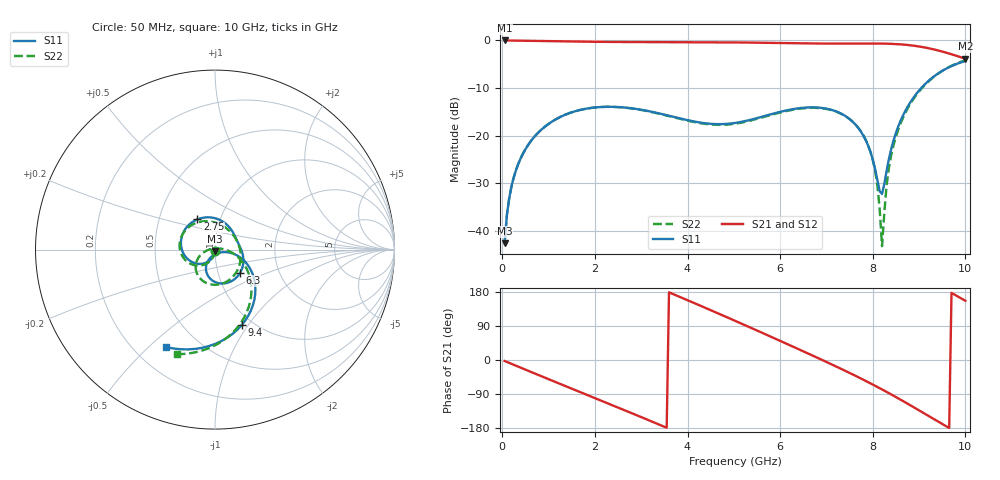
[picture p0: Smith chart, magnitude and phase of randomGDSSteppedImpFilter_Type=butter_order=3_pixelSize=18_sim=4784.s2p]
! freq	dB(S11)	phase(S11)	dB(S12)	phase(S12)
!  dB(S21)	phase(S21)	dB(S22)	phase(S22)
!S-par simulation data
#  GHz  S  DB  R 50
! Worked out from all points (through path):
!   200 points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, 50 MHz to 10 GHz, reference 50 ohm
!   highest |S21| = 0.00 dB at 50 MHz (marker M1); lowest = -3.8 dB at 10 GHz (marker M2)
!   group delay of S21, straight-line fit = 153 ps
!   lowest |S11| = -42.6 dB at 50 MHz (marker M3), VSWR 1.01, Z = 50 - j0.741 ohm
!   |S11| at or under -10 dB: start of sweep to 9.046 GHz
!   |S22| runs from -43.2 to -4.2 dB; largest |S21 - S12| = 0
!   S11 on the Smith chart (normalised r, x): 50 MHz: 1.00, -0.01; 2.75 GHz: 0.78, +0.27; 6.3 GHz: 1.27, -0.34; 9.4 GHz: 0.89, -0.93; 10 GHz: 0.33, -0.57
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0.05  -42.59 -92.3  -0.00 -2.6  -0.00 -2.6  -42.61 -92.0
0.1  -36.58 -95.3  -0.01 -5.2  -0.01 -5.2  -36.60 -94.6
0.2  -30.59 -101.0  -0.02 -10.2  -0.02 -10.2  -30.59 -99.6
0.5  -22.84 -117.6  -0.06 -25.5  -0.06 -25.5  -22.84 -114.3
1.15  -16.59 -153.1  -0.16 -58.2  -0.16 -58.2  -16.59 -145.0
1.75  -14.45 174.5  -0.26 -88.1  -0.26 -88.1  -14.46 -172.6
2.75  -14.20 120.2  -0.33 -138.0  -0.33 -138.0  -14.24 141.9
3.4  -15.35 84.8  -0.34 -171.1  -0.34 -171.1  -15.43 111.1
4.15  -17.04 47.2  -0.36 150.0  -0.36 150.0  -17.16 71.0
5.05  -17.30 11.1  -0.41 102.2  -0.41 102.2  -17.46 12.5
5.65  -15.91 -12.8  -0.49 69.7  -0.49 69.7  -16.06 -27.3
6.3  -14.39 -43.1  -0.59 34.0  -0.59 34.0  -14.52 -66.8
6.7  -14.05 -63.5  -0.64 11.7  -0.64 11.7  -14.16 -89.9
7.25  -15.06 -92.6  -0.66 -19.5  -0.66 -19.5  -15.11 -121.3
7.85  -20.99 -120.7  -0.64 -55.3  -0.64 -55.3  -20.94 -158.2
8.1  -29.34 -107.8  -0.65 -71.1  -0.65 -71.1  -30.46 178.0
8.2  -32.24 -58.3  -0.66 -77.6  -0.66 -77.6  -43.21 101.7
8.3  -27.32 -19.7  -0.68 -84.2  -0.68 -84.2  -30.31 11.1
8.35  -24.82 -14.0  -0.70 -87.6  -0.70 -87.6  -26.67 3.5
8.7  -14.85 -21.9  -0.90 -111.6  -0.90 -111.6  -15.27 -25.1
9.4  -7.00 -70.6  -2.07 -161.7  -2.07 -161.7  -7.05 -72.6
10  -4.33 -116.7  -3.85 156.3  -3.85 156.3  -4.17 -109.8
